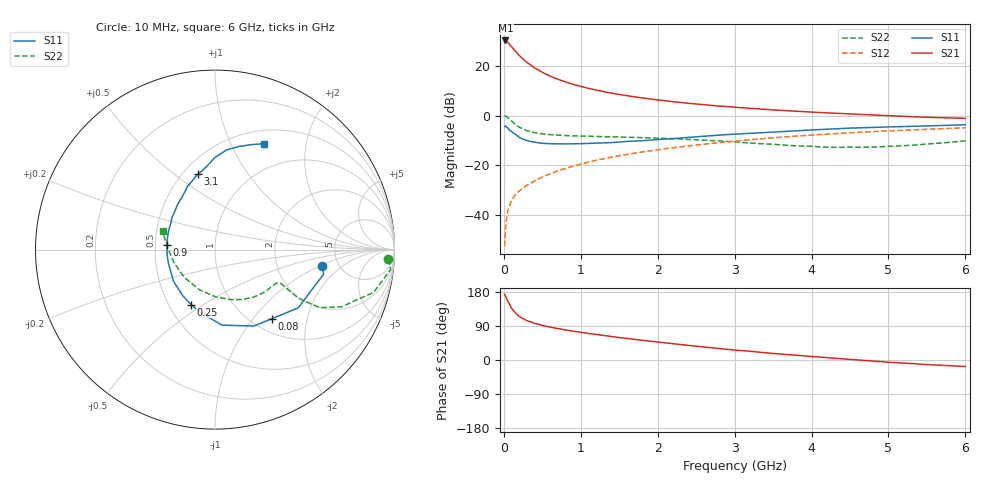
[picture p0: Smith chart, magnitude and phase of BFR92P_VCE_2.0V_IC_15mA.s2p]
! Infineon Technologies  Discrete & RF Semiconductors
! BFR92P
! VCE =  2.0 V,  IC =  15 mA
! Common Emitter S-Parameters:  Apr 2014
# GHz  S  MA  R  50
!  f  S11  S21  S12  S22
! GHz  MAG  ANG  MAG  ANG  MAG  ANG  MAG  ANG
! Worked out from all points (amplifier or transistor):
!   77 points, 10 MHz to 6 GHz, reference 50 ohm
!   highest |S21| = 30.4 dB at 20 MHz (marker M1)
!   |S21| within 3 dB of that: start of sweep to 113.8 MHz
!   unconditionally stable (mu >= 1): 543.8 MHz to 2.526 GHz
!   at 130 MHz: K = 0.51, MSG = 29.8 dB, |S12| = -32.8 dB
!   at 2.2 GHz: K = 1.02, MAG = 8.4 dB, |S12| = -13.0 dB
!   at 6 GHz: K = 0.90, MSG = 1.9 dB, |S12| = -4.9 dB
!   S11 on the Smith chart (normalised r, x): 10 MHz: 3.69, -1.07; 80 MHz: 1.22, -1.25; 250 MHz: 0.64, -0.44; 900 MHz: 0.58, +0.03; 3.1 GHz: 0.59, +0.61; 6 GHz: 0.66, +1.35
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0.01  0.6018 -8.8  32.52 173.4  0.0023 91.7  0.9647 -3.2
0.02  0.6208 -12.7  32.98 169.6  0.0049 81.2  0.9851 -6.4
0.05  0.5658 -35.0  30.5 155.3  0.0116 75.9  0.9151 -15.1
0.08  0.4983 -50.6  26.64 144.8  0.016 69.3  0.8281 -20.2
0.1  0.4782 -62.9  24.68 136.2  0.019 66.6  0.7745 -24.3
0.15  0.4228 -84.7  20.21 124.0  0.0253 64.5  0.6682 -29.0
0.2  0.3632 -101.3  16.45 114.9  0.03 63.3  0.5851 -29.7
0.25  0.3342 -113.5  13.84 109.1  0.0345 65.1  0.5358 -30.2
0.3  0.3131 -125.2  11.86 103.8  0.0391 65.1  0.4956 -29.4
0.4  0.2913 -141.9  9.209 96.7  0.0477 67.0  0.4512 -28.4
0.5  0.2756 -153.4  7.485 91.3  0.0573 68.4  0.4278 -27.6
0.6  0.2706 -163.6  6.302 86.8  0.0662 69.0  0.4128 -27.2
0.7  0.268 -171.7  5.445 82.9  0.0762 69.3  0.4034 -27.1
0.8  0.268 -179.1  4.794 79.4  0.0852 69.3  0.3956 -27.8
0.9  0.2694 174.1  4.298 76.0  0.0948 69.4  0.3896 -28.8
1.1  0.2739 164.4  3.558 70.1  0.1147 68.8  0.3834 -31.0
1.5  0.2919 146.6  2.675 59.4  0.1545 66.1  0.3694 -37.2
2.1  0.3351 126.0  1.991 45.2  0.2143 60.8  0.3453 -48.6
3.1  0.4305 102.6  1.441 24.7  0.3145 49.7  0.2865 -74.5
4.1  0.5215 88.7  1.158 7.9  0.4137 37.4  0.2342 -116.3
5.1  0.5956 75.6  0.982 -7.0  0.4991 24.0  0.2427 -167.5
6  0.6512 65.0  0.88 -17.2  0.568 11.9  0.3084 160.9
